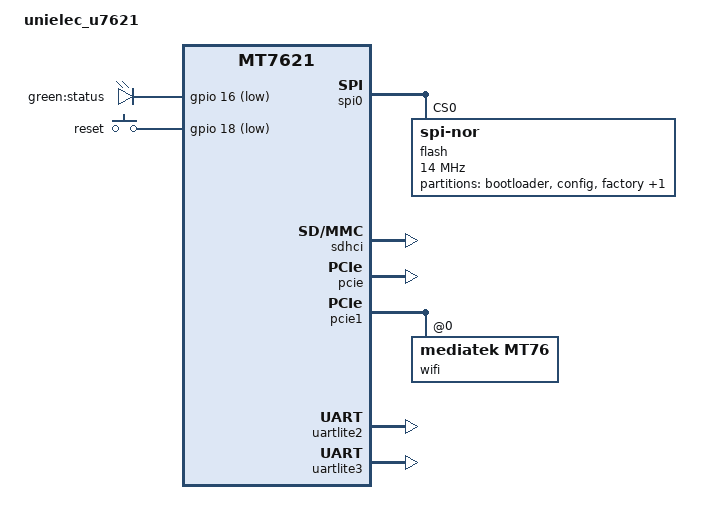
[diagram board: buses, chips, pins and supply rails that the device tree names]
// SPDX-License-Identifier: GPL-2.0-or-later OR MIT

#include "mt7621.dtsi"

#include <dt-bindings/gpio/gpio.h>
#include <dt-bindings/input/input.h>

/ {
	compatible = "unielec,u7621", "mediatek,mt7621-soc";
	model = "unielec_u7621";

        aliases {
                led-boot = &led_status;
                led-failsafe = &led_status;
                led-running = &led_status;
                led-upgrade = &led_status;
        };

	leds {
                compatible = "gpio-leds";
                led_status: status {
                        label = "green:status";
                        gpios = <&gpio 16 GPIO_ACTIVE_LOW>;
                };
        };

	keys {
		compatible = "gpio-keys";

		reset {
			label = "reset";
			gpios = <&gpio 18 GPIO_ACTIVE_LOW>;
			linux,code = <KEY_RESTART>;
		};
	};
	
};

&spi0 {
	status = "okay";
	cs-gpios = <0>, <0>;

	flash@0 {
		compatible = "jedec,spi-nor";
		reg = <0>;
		spi-max-frequency = <14000000>;

		partitions {
			compatible = "fixed-partitions";
			#address-cells = <1>;
			#size-cells = <1>;

			partition@0 {
				label = "bootloader";
				reg = <0x0 0x30000>;
			};

			partition@30000 {
				label = "config";
				reg = <0x30000 0x10000>;
			};

			factory: partition@40000 {
				label = "factory";
				reg = <0x50000 0x40000>;
			};

			partition@90000 {
				compatible = "denx,uimage";
				label = "firmware";
				reg = <0x90000 0xf70000>;
			};
		};
	};
};

&factory {
	compatible = "nvmem-cells";
	#address-cells = <1>;
	#size-cells = <1>;

	macaddr_factory_3fff4: macaddr@3fff4 {
		reg = <0x3fff4 0x6>;
	};
};

&sdhci {
	status = "okay";
};

&pcie {
	status = "okay";
};

&pcie1 {
       wifi@0,0 {
              compatible = "mediatek,mt76";
              reg = <0x0000 0 0 0 0>;
              mediatek,mtd-eeprom = <&factory 0x0000>;
              ieee80211-freq-limit = <2400000 6000000>;
              nvmem-cell-names = "mac-address";
              mac-address-increment = <2>;


              led {
                      led-sources = <2>;
                      linux,default-trigger = "phy0tpt";
                      led-active-low;
              };
       };
};

&switch0 {
	ports {
		port@0 {
			status = "okay";
			label = "lan1";
		};

		port@1 {
			status = "okay";
			label = "lan2";
		};

		port@2 {
			status = "okay";
			label = "lan3";
		};

		port@3 {
			status = "okay";
			label = "lan4";
		};

		wan: port@4 {
			status = "okay";
			label = "wan";
		};
	};
};

&gmac0 {
	nvmem-cells = <&macaddr_factory_3fff4>;
	nvmem-cell-names = "mac-address";
};

&wan {
	nvmem-cells = <&macaddr_factory_3fff4>;
	nvmem-cell-names = "mac-address";
	mac-address-increment = <1>;
};



&state_default {
	gpio {
		groups = "jtag", "wdt", "rgmii2";
		function = "gpio";
	};
};

&uartlite2 {
        status = "okay";
};

&uartlite3 {
        status = "okay";
};


